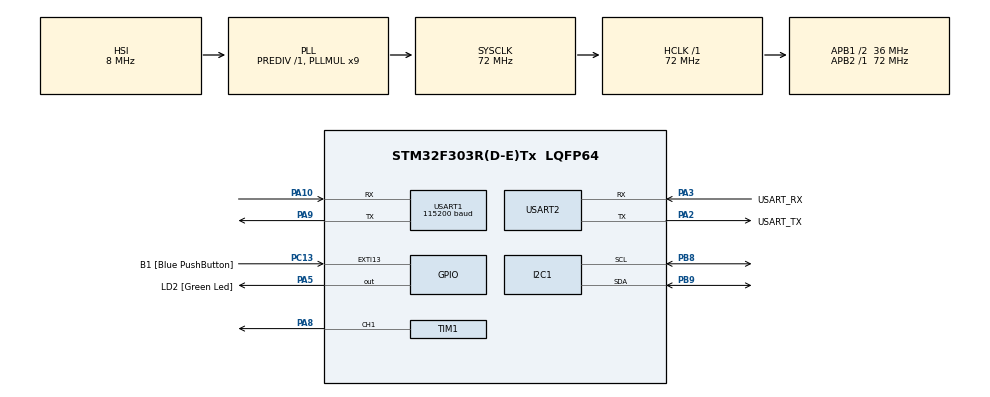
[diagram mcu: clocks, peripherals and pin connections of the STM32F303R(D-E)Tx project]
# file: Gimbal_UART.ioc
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I2C1.Timing=0x00201D2B
Mcu.Family=STM32F3
Mcu.Name=STM32F303R(D-E)Tx
Mcu.Package=LQFP64
NVIC.PriorityGroup=NVIC_PRIORITYGROUP_0
PA10.Mode=Asynchronous
PA10.Signal=USART1_RX
PA13.GPIO_Label=TMS
PA13.Mode=Serial_Wire
PA13.Signal=SYS_JTMS-SWDIO
PA14.GPIO_Label=TCK
PA14.Mode=Serial_Wire
PA14.Signal=SYS_JTCK-SWCLK
PA2.GPIO_Label=USART_TX
PA2.GPIO_Mode=GPIO_MODE_AF_PP
PA2.GPIO_PuPd=GPIO_NOPULL
PA2.GPIO_Speed=GPIO_SPEED_FREQ_LOW
PA2.Mode=Asynchronous
PA2.Signal=USART2_TX
PA3.GPIO_Label=USART_RX
PA3.GPIO_Mode=GPIO_MODE_AF_PP
PA3.GPIO_PuPd=GPIO_NOPULL
PA3.GPIO_Speed=GPIO_SPEED_FREQ_LOW
PA3.Mode=Asynchronous
PA3.Signal=USART2_RX
PA5.GPIO_Label=LD2 [Green Led]
PA5.GPIO_Mode=GPIO_MODE_OUTPUT_PP
PA5.GPIO_PuPd=GPIO_NOPULL
PA5.GPIO_Speed=GPIO_SPEED_FREQ_LOW
PA5.Signal=GPIO_Output
PA8.Signal=S_TIM1_CH1
PA9.Mode=Asynchronous
PA9.Signal=USART1_TX
PB3.GPIO_Label=SWO
PB3.Signal=SYS_JTDO-TRACESWO
PB8.Mode=I2C
PB8.Signal=I2C1_SCL
PB9.Mode=I2C
PB9.Signal=I2C1_SDA
PC13.GPIO_Label=B1 [Blue PushButton]
PC13.GPIO_ModeDefaultEXTI=GPIO_MODE_IT_FALLING
PC13.Signal=GPXTI13
PC14-OSC32_IN.Mode=LSE-External-Oscillator
PC14-OSC32_IN.Signal=RCC_OSC32_IN
PC15-OSC32_OUT.Mode=LSE-External-Oscillator
PC15-OSC32_OUT.Signal=RCC_OSC32_OUT
PF0-OSC_IN.Mode=HSE-External-Clock-Source
PF0-OSC_IN.Signal=RCC_OSC_IN
PF1-OSC_OUT.Signal=RCC_OSC_OUT
ProjectManager.HeapSize=0x200
ProjectManager.StackSize=0x400
ProjectManager.TargetToolchain=CMake
RCC.AHBFreq_Value=72000000
RCC.APB1CLKDivider=RCC_HCLK_DIV2
RCC.APB1Freq_Value=36000000
RCC.APB1TimFreq_Value=72000000
RCC.APB2Freq_Value=72000000
RCC.APB2TimFreq_Value=72000000
RCC.CortexFreq_Value=72000000
RCC.HCLKFreq_Value=72000000
RCC.HSE_VALUE=8000000
RCC.HSI_VALUE=8000000
RCC.PLLM=8
RCC.PLLMUL=RCC_PLL_MUL9
RCC.PLLN=336
RCC.PLLP=RCC_PLLP_DIV4
RCC.PLLQ=7
RCC.RCC_PLLsource_Clock_Source_FROM_HSE=RCC_HSE_PREDIV_DIV2
RCC.SYSCLKFreq_VALUE=72000000
RCC.SYSCLKSourceVirtual=RCC_SYSCLKSOURCE_PLLCLK
RCC.USBFreq_Value=72000000
SH.S_TIM1_CH1.0=TIM1_CH1,PWM Generation1 CH1
TIM1.Channel-PWM\ Generation1\ CH1=TIM_CHANNEL_1
TIM1.Period=1999
TIM1.Prescaler=71
TIM1.Pulse-PWM\ Generation1\ CH1=1500
USART1.BaudRate=115200
USART1.VirtualMode-Asynchronous=VM_ASYNC
USART2.VirtualMode-Asynchronous=VM_ASYNC
VP_TIM1_VS_ClockSourceINT.Mode=Internal
board=NUCLEO-F303RE

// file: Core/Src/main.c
/* USER CODE BEGIN Header */
/**
  ******************************************************************************
  * @file           : main.c
  * @brief          : Main program body
  ******************************************************************************
  * @attention
  *
  * Copyright (c) 2026 STMicroelectronics.
  * All rights reserved.
  *
  * This software is licensed under terms that can be found in the LICENSE file
  * in the root directory of this software component.
  * If no LICENSE file comes with this software, it is provided AS-IS.
  *
  ******************************************************************************
  */
/* USER CODE END Header */
#include "main.h"

/* USER CODE BEGIN Includes */
#include "ssd1306.h"
#include <stdio.h>
#include <stdlib.h>
#include <string.h>
#include <math.h>
/* USER CODE END Includes */

/* USER CODE BEGIN PD */
#define MPU6050_ADDR 0xD0

/* USER CODE END PD */

I2C_HandleTypeDef hi2c1;

TIM_HandleTypeDef htim1;

UART_HandleTypeDef huart1;
UART_HandleTypeDef huart2;

/* USER CODE BEGIN PV */

// --- Змінні системи ---
volatile int16_t Accel_X_RAW;
uint8_t rec_data[6];
char display_buf[32];

// --- Пам'ять PID ---
float error = 0;
float last_error = 0;
float integral = 0;
float pid_output = 0;
/* USER CODE END PV */

void SystemClock_Config(void);
static void MX_GPIO_Init(void);
static void MX_I2C1_Init(void);
static void MX_TIM1_Init(void);
static void MX_USART2_UART_Init(void);
static void MX_USART1_UART_Init(void);

int main(void)
{

  /* MCU Configuration--------------------------------------------------------*/

  /* Reset of all peripherals, Initializes the Flash interface and the Systick. */
  HAL_Init();

  /* Configure the system clock */
  SystemClock_Config();

  /* Initialize all configured peripherals */
  MX_GPIO_Init();
  MX_I2C1_Init();
  MX_TIM1_Init();
  MX_USART2_UART_Init();
  MX_USART1_UART_Init();
  /* USER CODE BEGIN 2 */
  HAL_TIM_PWM_Start(&htim1, TIM_CHANNEL_1);

  // 2. Ініціалізація Екрану
  SSD1306_Init();
  SSD1306_Fill(Black);
  SSD1306_SetCursor(10, 10);
  SSD1306_WriteString("GIMBAL INIT...", White);
  SSD1306_UpdateScreen();
  HAL_Delay(1000);

  // 3. Ініціалізація MPU6050 (Вихід зі сну)
  uint8_t check_data = 0;
  // Якщо датчик не відповідає - зависаємо і пишемо помилку
  if (HAL_I2C_Mem_Write(&hi2c1, MPU6050_ADDR, 0x6B, 1, &check_data, 1, 1000) != HAL_OK)
  {
      SSD1306_Fill(Black);
      SSD1306_SetCursor(0, 0);
      SSD1306_WriteString("MPU ERROR!", White);
      SSD1306_UpdateScreen();
      while(1);
  }
  /* USER CODE END 2 */

  /* Infinite loop */
  /* USER CODE BEGIN WHILE */
  float Kp = 3.0;   // Базова реакція
  float Ki = 0.5;  // Повільне, але точне вирівнювання (вже не 0.2!)
  // float Kd = 0.0;    // Гальмування різких рухів

  // Змінні пам'яті
  static float integral = 0;
  static float Filtered_Angle = 0;

  while (1)
  {
    if (HAL_I2C_Mem_Read(&hi2c1, MPU6050_ADDR, 0x3B, 1, rec_data, 2, 100) == HAL_OK)
    {
        // 1. Зчитуємо сирі дані
        Accel_X_RAW = (int16_t)(rec_data[0] << 8 | rec_data[1]);

        // 2. ПЕРЕТВОРЮЄМО В ГРАДУСИ ОДРАЗУ ТУТ!
        // Ділимо на 16384 і множимо на 90.
        // Захист: якщо значення трохи вийде за 1g через шум, обмежуємо його.
        float current_g = (float)Accel_X_RAW / 16384.0f;
        if (current_g > 1.0f) current_g = 1.0f;
        if (current_g < -1.0f) current_g = -1.0f;
        float angle_degrees = asinf(current_g) * 57.2957f; // 180 / PI

        // 2. Швидкий фільтр (реакція майже миттєва)
        Filtered_Angle = (Filtered_Angle * 0.7f) + (angle_degrees * 0.3f);

        // 3. Розрахунок помилки
        float error = 0.0f - Filtered_Angle; // Ми хочемо тримати 0 градусів (горизонт)

        // 4. Інтеграл із захистом від "намотування" (Anti-Windup)
        integral += error;
        if (integral > 200.0f) integral = 200.0f;   // Обмеження!
        if (integral < -200.0f) integral = -200.0f; // Обмеження!

        // 2. PID - Інтеграл
        integral = integral + error;

        // Ліміт інтегралу (щоб не "надувався" надто сильно)
        if (integral > 1500) integral = 1500;
        if (integral < -1500) integral = -1500;

        // 3. Формула (Без D)
        float pid_output = (error * Kp) + (integral * Ki);

        // 4. МЕРТВА ЗОНА (Обов'язкова для дешевих серво)
        // Якщо зміна менша за 4 одиниці - ігноруємо, стоїмо на місці.
        if (fabsf(pid_output) < 4.0f) pid_output = 0;

        // 5. Вихід на мотор
        int servo_pos = 1500 + (int)pid_output;

        // Ліміти
        if (servo_pos > 2200) servo_pos = 2200;
        if (servo_pos < 800)  servo_pos = 800;

        __HAL_TIM_SET_COMPARE(&htim1, TIM_CHANNEL_1, servo_pos);

        // 6. Екран
        static uint8_t frame_count = 0;
        if (frame_count++ > 10) {
            SSD1306_Fill(Black);
            SSD1306_SetCursor(20, 0);
            SSD1306_WriteString("UART MODE", White);

            sprintf(display_buf, "Angle: %d", (int)Filtered_Angle);
            SSD1306_SetCursor(0, 20);
            SSD1306_WriteString(display_buf, White);

            SSD1306_UpdateScreen();

            char uart_buf[32]; // Буфер для тексту

            // Формуємо повідомлення: "ANG:145\n"
            // \n (новий рядок) дуже важливий, щоб ESP32 зрозуміла кінець команди
            sprintf(uart_buf, "ANG:%d\n", (int)Filtered_Angle);

            // Відправляємо!
            // &huart1 - це наш порт
            // strlen(uart_buf) - довжина тексту
            // 10 - таймаут (чекаємо максимум 10 мс)
            HAL_UART_Transmit(&huart1, (uint8_t*)uart_buf, strlen(uart_buf), 10);

            frame_count = 0;
        }
    }
    HAL_Delay(20);
    /* USER CODE END WHILE */

  }
}

void SystemClock_Config(void)
{
  RCC_OscInitTypeDef RCC_OscInitStruct = {0};
  RCC_ClkInitTypeDef RCC_ClkInitStruct = {0};
  RCC_PeriphCLKInitTypeDef PeriphClkInit = {0};

  /** Initializes the RCC Oscillators according to the specified parameters
  * in the RCC_OscInitTypeDef structure.
  */
  RCC_OscInitStruct.OscillatorType = RCC_OSCILLATORTYPE_HSI;
  RCC_OscInitStruct.HSIState = RCC_HSI_ON;
  RCC_OscInitStruct.HSICalibrationValue = RCC_HSICALIBRATION_DEFAULT;
  RCC_OscInitStruct.PLL.PLLState = RCC_PLL_ON;
  RCC_OscInitStruct.PLL.PLLSource = RCC_PLLSOURCE_HSI;
  RCC_OscInitStruct.PLL.PLLMUL = RCC_PLL_MUL9;
  RCC_OscInitStruct.PLL.PREDIV = RCC_PREDIV_DIV1;
  if (HAL_RCC_OscConfig(&RCC_OscInitStruct) != HAL_OK)
  {
    Error_Handler();
  }

  /** Initializes the CPU, AHB and APB buses clocks
  */
  RCC_ClkInitStruct.ClockType = RCC_CLOCKTYPE_HCLK|RCC_CLOCKTYPE_SYSCLK
                              |RCC_CLOCKTYPE_PCLK1|RCC_CLOCKTYPE_PCLK2;
  RCC_ClkInitStruct.SYSCLKSource = RCC_SYSCLKSOURCE_PLLCLK;
  RCC_ClkInitStruct.AHBCLKDivider = RCC_SYSCLK_DIV1;
  RCC_ClkInitStruct.APB1CLKDivider = RCC_HCLK_DIV2;
  RCC_ClkInitStruct.APB2CLKDivider = RCC_HCLK_DIV1;

  if (HAL_RCC_ClockConfig(&RCC_ClkInitStruct, FLASH_LATENCY_2) != HAL_OK)
  {
    Error_Handler();
  }
  PeriphClkInit.PeriphClockSelection = RCC_PERIPHCLK_USART1|RCC_PERIPHCLK_USART2
                              |RCC_PERIPHCLK_I2C1|RCC_PERIPHCLK_TIM1;
  PeriphClkInit.Usart1ClockSelection = RCC_USART1CLKSOURCE_PCLK2;
  PeriphClkInit.Usart2ClockSelection = RCC_USART2CLKSOURCE_PCLK1;
  PeriphClkInit.I2c1ClockSelection = RCC_I2C1CLKSOURCE_HSI;
  PeriphClkInit.Tim1ClockSelection = RCC_TIM1CLK_HCLK;
  if (HAL_RCCEx_PeriphCLKConfig(&PeriphClkInit) != HAL_OK)
  {
    Error_Handler();
  }
}

static void MX_I2C1_Init(void)
{

  hi2c1.Instance = I2C1;
  hi2c1.Init.Timing = 0x00201D2B;
  hi2c1.Init.OwnAddress1 = 0;
  hi2c1.Init.AddressingMode = I2C_ADDRESSINGMODE_7BIT;
  hi2c1.Init.DualAddressMode = I2C_DUALADDRESS_DISABLE;
  hi2c1.Init.OwnAddress2 = 0;
  hi2c1.Init.OwnAddress2Masks = I2C_OA2_NOMASK;
  hi2c1.Init.GeneralCallMode = I2C_GENERALCALL_DISABLE;
  hi2c1.Init.NoStretchMode = I2C_NOSTRETCH_DISABLE;
  if (HAL_I2C_Init(&hi2c1) != HAL_OK)
  {
    Error_Handler();
  }

  /** Configure Analogue filter
  */
  if (HAL_I2CEx_ConfigAnalogFilter(&hi2c1, I2C_ANALOGFILTER_ENABLE) != HAL_OK)
  {
    Error_Handler();
  }

  /** Configure Digital filter
  */
  if (HAL_I2CEx_ConfigDigitalFilter(&hi2c1, 0) != HAL_OK)
  {
    Error_Handler();
  }

}

static void MX_TIM1_Init(void)
{

  TIM_ClockConfigTypeDef sClockSourceConfig = {0};
  TIM_MasterConfigTypeDef sMasterConfig = {0};
  TIM_OC_InitTypeDef sConfigOC = {0};
  TIM_BreakDeadTimeConfigTypeDef sBreakDeadTimeConfig = {0};

  htim1.Instance = TIM1;
  htim1.Init.Prescaler = 71;
  htim1.Init.CounterMode = TIM_COUNTERMODE_UP;
  htim1.Init.Period = 1999;
  htim1.Init.ClockDivision = TIM_CLOCKDIVISION_DIV1;
  htim1.Init.RepetitionCounter = 0;
  htim1.Init.AutoReloadPreload = TIM_AUTORELOAD_PRELOAD_DISABLE;
  if (HAL_TIM_Base_Init(&htim1) != HAL_OK)
  {
    Error_Handler();
  }
  sClockSourceConfig.ClockSource = TIM_CLOCKSOURCE_INTERNAL;
  if (HAL_TIM_ConfigClockSource(&htim1, &sClockSourceConfig) != HAL_OK)
  {
    Error_Handler();
  }
  if (HAL_TIM_PWM_Init(&htim1) != HAL_OK)
  {
    Error_Handler();
  }
  sMasterConfig.MasterOutputTrigger = TIM_TRGO_RESET;
  sMasterConfig.MasterOutputTrigger2 = TIM_TRGO2_RESET;
  sMasterConfig.MasterSlaveMode = TIM_MASTERSLAVEMODE_DISABLE;
  if (HAL_TIMEx_MasterConfigSynchronization(&htim1, &sMasterConfig) != HAL_OK)
  {
    Error_Handler();
  }
  sConfigOC.OCMode = TIM_OCMODE_PWM1;
  sConfigOC.Pulse = 1500;
  sConfigOC.OCPolarity = TIM_OCPOLARITY_HIGH;
  sConfigOC.OCNPolarity = TIM_OCNPOLARITY_HIGH;
  sConfigOC.OCFastMode = TIM_OCFAST_DISABLE;
  sConfigOC.OCIdleState = TIM_OCIDLESTATE_RESET;
  sConfigOC.OCNIdleState = TIM_OCNIDLESTATE_RESET;
  if (HAL_TIM_PWM_ConfigChannel(&htim1, &sConfigOC, TIM_CHANNEL_1) != HAL_OK)
  {
    Error_Handler();
  }
  sBreakDeadTimeConfig.OffStateRunMode = TIM_OSSR_DISABLE;
  sBreakDeadTimeConfig.OffStateIDLEMode = TIM_OSSI_DISABLE;
  sBreakDeadTimeConfig.LockLevel = TIM_LOCKLEVEL_OFF;
  sBreakDeadTimeConfig.DeadTime = 0;
  sBreakDeadTimeConfig.BreakState = TIM_BREAK_DISABLE;
  sBreakDeadTimeConfig.BreakPolarity = TIM_BREAKPOLARITY_HIGH;
  sBreakDeadTimeConfig.BreakFilter = 0;
  sBreakDeadTimeConfig.Break2State = TIM_BREAK2_DISABLE;
  sBreakDeadTimeConfig.Break2Polarity = TIM_BREAK2POLARITY_HIGH;
  sBreakDeadTimeConfig.Break2Filter = 0;
  sBreakDeadTimeConfig.AutomaticOutput = TIM_AUTOMATICOUTPUT_DISABLE;
  if (HAL_TIMEx_ConfigBreakDeadTime(&htim1, &sBreakDeadTimeConfig) != HAL_OK)
  {
    Error_Handler();
  }
  HAL_TIM_MspPostInit(&htim1);

}

static void MX_USART1_UART_Init(void)
{

  huart1.Instance = USART1;
  huart1.Init.BaudRate = 115200;
  huart1.Init.WordLength = UART_WORDLENGTH_8B;
  huart1.Init.StopBits = UART_STOPBITS_1;
  huart1.Init.Parity = UART_PARITY_NONE;
  huart1.Init.Mode = UART_MODE_TX_RX;
  huart1.Init.HwFlowCtl = UART_HWCONTROL_NONE;
  huart1.Init.OverSampling = UART_OVERSAMPLING_16;
  huart1.Init.OneBitSampling = UART_ONE_BIT_SAMPLE_DISABLE;
  huart1.AdvancedInit.AdvFeatureInit = UART_ADVFEATURE_NO_INIT;
  if (HAL_UART_Init(&huart1) != HAL_OK)
  {
    Error_Handler();
  }

}

static void MX_USART2_UART_Init(void)
{

  huart2.Instance = USART2;
  huart2.Init.BaudRate = 38400;
  huart2.Init.WordLength = UART_WORDLENGTH_8B;
  huart2.Init.StopBits = UART_STOPBITS_1;
  huart2.Init.Parity = UART_PARITY_NONE;
  huart2.Init.Mode = UART_MODE_TX_RX;
  huart2.Init.HwFlowCtl = UART_HWCONTROL_NONE;
  huart2.Init.OverSampling = UART_OVERSAMPLING_16;
  huart2.Init.OneBitSampling = UART_ONE_BIT_SAMPLE_DISABLE;
  huart2.AdvancedInit.AdvFeatureInit = UART_ADVFEATURE_NO_INIT;
  if (HAL_UART_Init(&huart2) != HAL_OK)
  {
    Error_Handler();
  }

}

static void MX_GPIO_Init(void)
{
  GPIO_InitTypeDef GPIO_InitStruct = {0};

  /* GPIO Ports Clock Enable */
  __HAL_RCC_GPIOC_CLK_ENABLE();
  __HAL_RCC_GPIOF_CLK_ENABLE();
  __HAL_RCC_GPIOA_CLK_ENABLE();
  __HAL_RCC_GPIOB_CLK_ENABLE();

  /*Configure GPIO pin Output Level */
  HAL_GPIO_WritePin(LD2_GPIO_Port, LD2_Pin, GPIO_PIN_RESET);

  /*Configure GPIO pin : B1_Pin */
  GPIO_InitStruct.Pin = B1_Pin;
  GPIO_InitStruct.Mode = GPIO_MODE_IT_FALLING;
  GPIO_InitStruct.Pull = GPIO_NOPULL;
  HAL_GPIO_Init(B1_GPIO_Port, &GPIO_InitStruct);

  /*Configure GPIO pin : LD2_Pin */
  GPIO_InitStruct.Pin = LD2_Pin;
  GPIO_InitStruct.Mode = GPIO_MODE_OUTPUT_PP;
  GPIO_InitStruct.Pull = GPIO_NOPULL;
  GPIO_InitStruct.Speed = GPIO_SPEED_FREQ_LOW;
  HAL_GPIO_Init(LD2_GPIO_Port, &GPIO_InitStruct);

}

void Error_Handler(void)
{
  __disable_irq();
  while (1)
  {
  }
}
